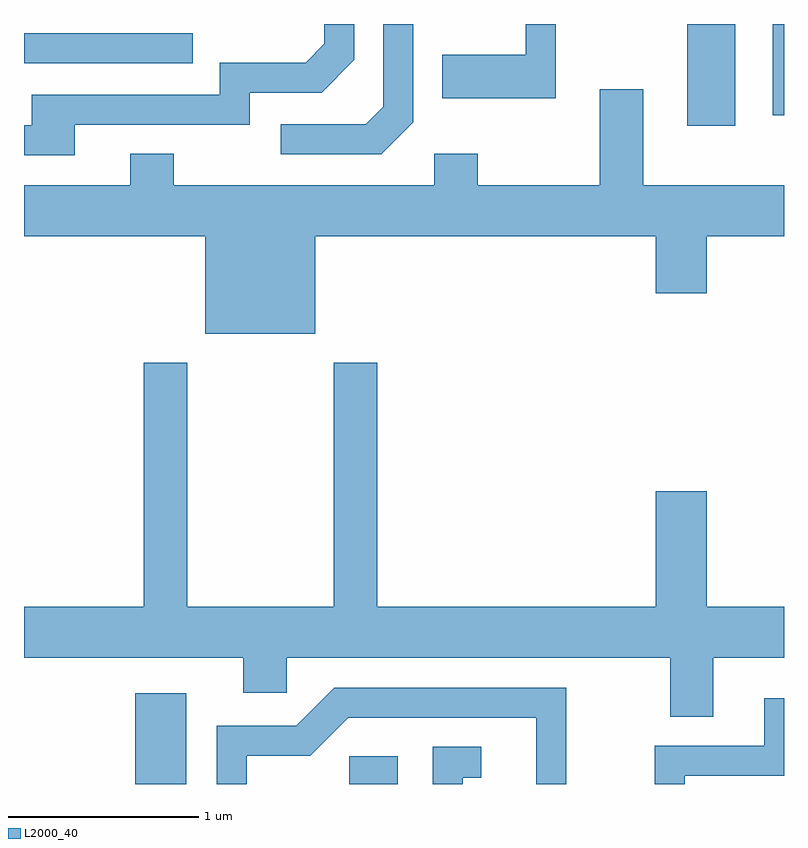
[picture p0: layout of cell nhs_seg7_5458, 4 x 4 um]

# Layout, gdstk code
import gdstk
lib = gdstk.Library(unit=1e-6, precision=1e-09)
def R(c, l, rs):  # rectangles x0, y0, x1, y1
    for r in rs: c.add(gdstk.rectangle(r[:2], r[2:], *l))
def P(c, l, *ps):  # polygons
    for p in ps: c.add(gdstk.Polygon(p, *l))
L2000_40 = (2000, 40)

nhs_seg7_5458 = lib.new_cell('nhs_seg7_5458')
R(nhs_seg7_5458, L2000_40, [(352.196,1780.252,352.464,1780.729), (353.323,1780.252,353.579,1780.399), (355.101,1783.716,355.354,1784.252), (355.551,1783.771,355.611,1784.252), (351.611,1784.046,352.498,1784.204)])
P(nhs_seg7_5458, L2000_40, [(353.659,1783.734),(353.659,1784.252),(353.501,1784.252),(353.501,1783.817),(353.409,1783.724),(352.963,1783.724),(352.963,1783.566),(353.492,1783.566)],
  [(351.879,1783.721),(352.799,1783.721),(352.799,1783.891),(353.177,1783.891),(353.349,1784.064),(353.349,1784.252),(353.191,1784.252),(353.191,1784.147),(353.094,1784.049),(352.641,1784.049),(352.641,1783.879),(351.651,1783.879),(351.651,1783.719),(351.611,1783.719),(351.611,1783.561),(351.879,1783.561)],
  [(354.409,1784.252),(354.251,1784.252),(354.251,1784.089),(353.811,1784.089),(353.811,1783.861),(354.409,1783.861)],
  [(353.144,1783.136),(354.936,1783.136),(354.936,1782.836),(355.204,1782.836),(355.204,1783.136),(355.611,1783.136),(355.611,1783.404),(354.869,1783.404),(354.869,1783.909),(354.641,1783.909),(354.641,1783.404),(353.999,1783.404),(353.999,1783.569),(353.771,1783.569),(353.771,1783.404),(352.399,1783.404),(352.399,1783.569),(352.171,1783.569),(352.171,1783.404),(351.611,1783.404),(351.611,1783.136),(352.566,1783.136),(352.566,1782.621),(353.144,1782.621)],
  [(355.239,1780.916),(355.611,1780.916),(355.611,1781.184),(355.204,1781.184),(355.204,1781.794),(354.936,1781.794),(354.936,1781.184),(353.469,1781.184),(353.469,1782.469),(353.241,1782.469),(353.241,1781.184),(352.469,1781.184),(352.469,1782.469),(352.241,1782.469),(352.241,1781.184),(351.611,1781.184),(351.611,1780.916),(352.766,1780.916),(352.766,1780.731),(352.994,1780.731),(352.994,1780.916),(355.011,1780.916),(355.011,1780.606),(355.239,1780.606)],
  [(352.784,1780.401),(353.117,1780.401),(353.317,1780.601),(354.306,1780.601),(354.306,1780.252),(354.464,1780.252),(354.464,1780.759),(353.244,1780.759),(353.044,1780.559),(352.626,1780.559),(352.626,1780.252),(352.784,1780.252)],
  [(355.089,1780.296),(355.611,1780.296),(355.611,1780.703),(355.506,1780.703),(355.506,1780.454),(354.931,1780.454),(354.931,1780.252),(355.089,1780.252)],
  [(353.919,1780.286),(354.018,1780.286),(354.018,1780.449),(353.761,1780.449),(353.761,1780.252),(353.919,1780.252)])

lib.write_gds('nhs_seg7_5458.gds')
